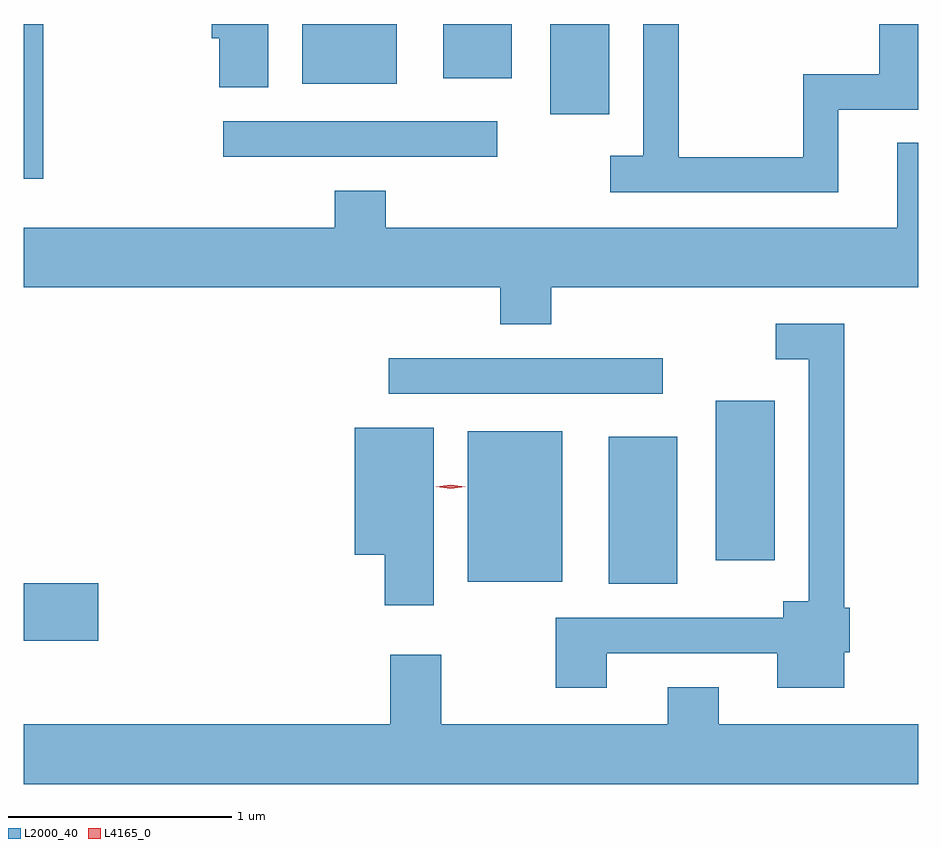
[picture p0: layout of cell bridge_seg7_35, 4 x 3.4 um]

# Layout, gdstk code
import gdstk
lib = gdstk.Library(unit=1e-6, precision=1e-09)
def R(c, l, rs):  # rectangles x0, y0, x1, y1
    for r in rs: c.add(gdstk.rectangle(r[:2], r[2:], *l))
def P(c, l, *ps):  # polygons
    for p in ps: c.add(gdstk.Polygon(p, *l))
L2000_40 = (2000, 40)
L4165_0 = (4165, 0)

bridge_seg7_35 = lib.new_cell('bridge_seg7_35')
R(bridge_seg7_35, L2000_40, [(1776.561,1768.236,1776.894,1768.494), (1779.176,1768.491,1779.484,1769.149), (1778.546,1768.501,1778.969,1769.174), (1779.656,1768.596,1779.919,1769.309), (1778.193,1769.341,1779.418,1769.499), (1776.561,1770.303,1776.649,1770.994), (1777.453,1770.401,1778.678,1770.559), (1778.916,1770.591,1779.179,1770.994), (1777.806,1770.726,1778.229,1770.994), (1778.436,1770.751,1778.744,1770.994)])
P(bridge_seg7_35, L2000_40, [(1780.204,1770.611),(1780.561,1770.611),(1780.561,1770.994),(1780.386,1770.994),(1780.386,1770.769),(1780.046,1770.769),(1780.046,1770.399),(1779.489,1770.399),(1779.489,1770.994),(1779.331,1770.994),(1779.331,1770.404),(1779.183,1770.404),(1779.183,1770.241),(1780.204,1770.241)],
  [(1777.654,1770.994),(1777.401,1770.994),(1777.401,1770.931),(1777.436,1770.931),(1777.436,1770.711),(1777.654,1770.711)],
  [(1778.919,1769.816),(1780.561,1769.816),(1780.561,1770.463),(1780.466,1770.463),(1780.466,1770.084),(1778.179,1770.084),(1778.179,1770.249),(1777.951,1770.249),(1777.951,1770.084),(1776.561,1770.084),(1776.561,1769.816),(1778.691,1769.816),(1778.691,1769.651),(1778.919,1769.651)],
  [(1779.169,1768.181),(1779.931,1768.181),(1779.931,1768.026),(1780.229,1768.026),(1780.229,1768.186),(1780.254,1768.186),(1780.254,1768.384),(1780.229,1768.384),(1780.229,1769.654),(1779.923,1769.654),(1779.923,1769.496),(1780.071,1769.496),(1780.071,1768.414),(1779.956,1768.414),(1779.956,1768.339),(1778.941,1768.339),(1778.941,1768.026),(1779.169,1768.026)],
  [(1778.394,1769.189),(1778.041,1769.189),(1778.041,1768.621),(1778.176,1768.621),(1778.176,1768.396),(1778.394,1768.396)],
  [(1780.561,1767.864),(1779.669,1767.864),(1779.669,1768.029),(1779.441,1768.029),(1779.441,1767.864),(1778.429,1767.864),(1778.429,1768.174),(1778.201,1768.174),(1778.201,1767.864),(1776.561,1767.864),(1776.561,1767.596),(1780.561,1767.596)])
P(bridge_seg7_35, L4165_0, [(1778.47,1768.915),(1778.403,1768.924),(1778.403,1768.925),(1778.403,1768.925),(1778.47,1768.935),(1778.536,1768.925),(1778.536,1768.925),(1778.536,1768.924)])

lib.write_gds('bridge_seg7_35.gds')
